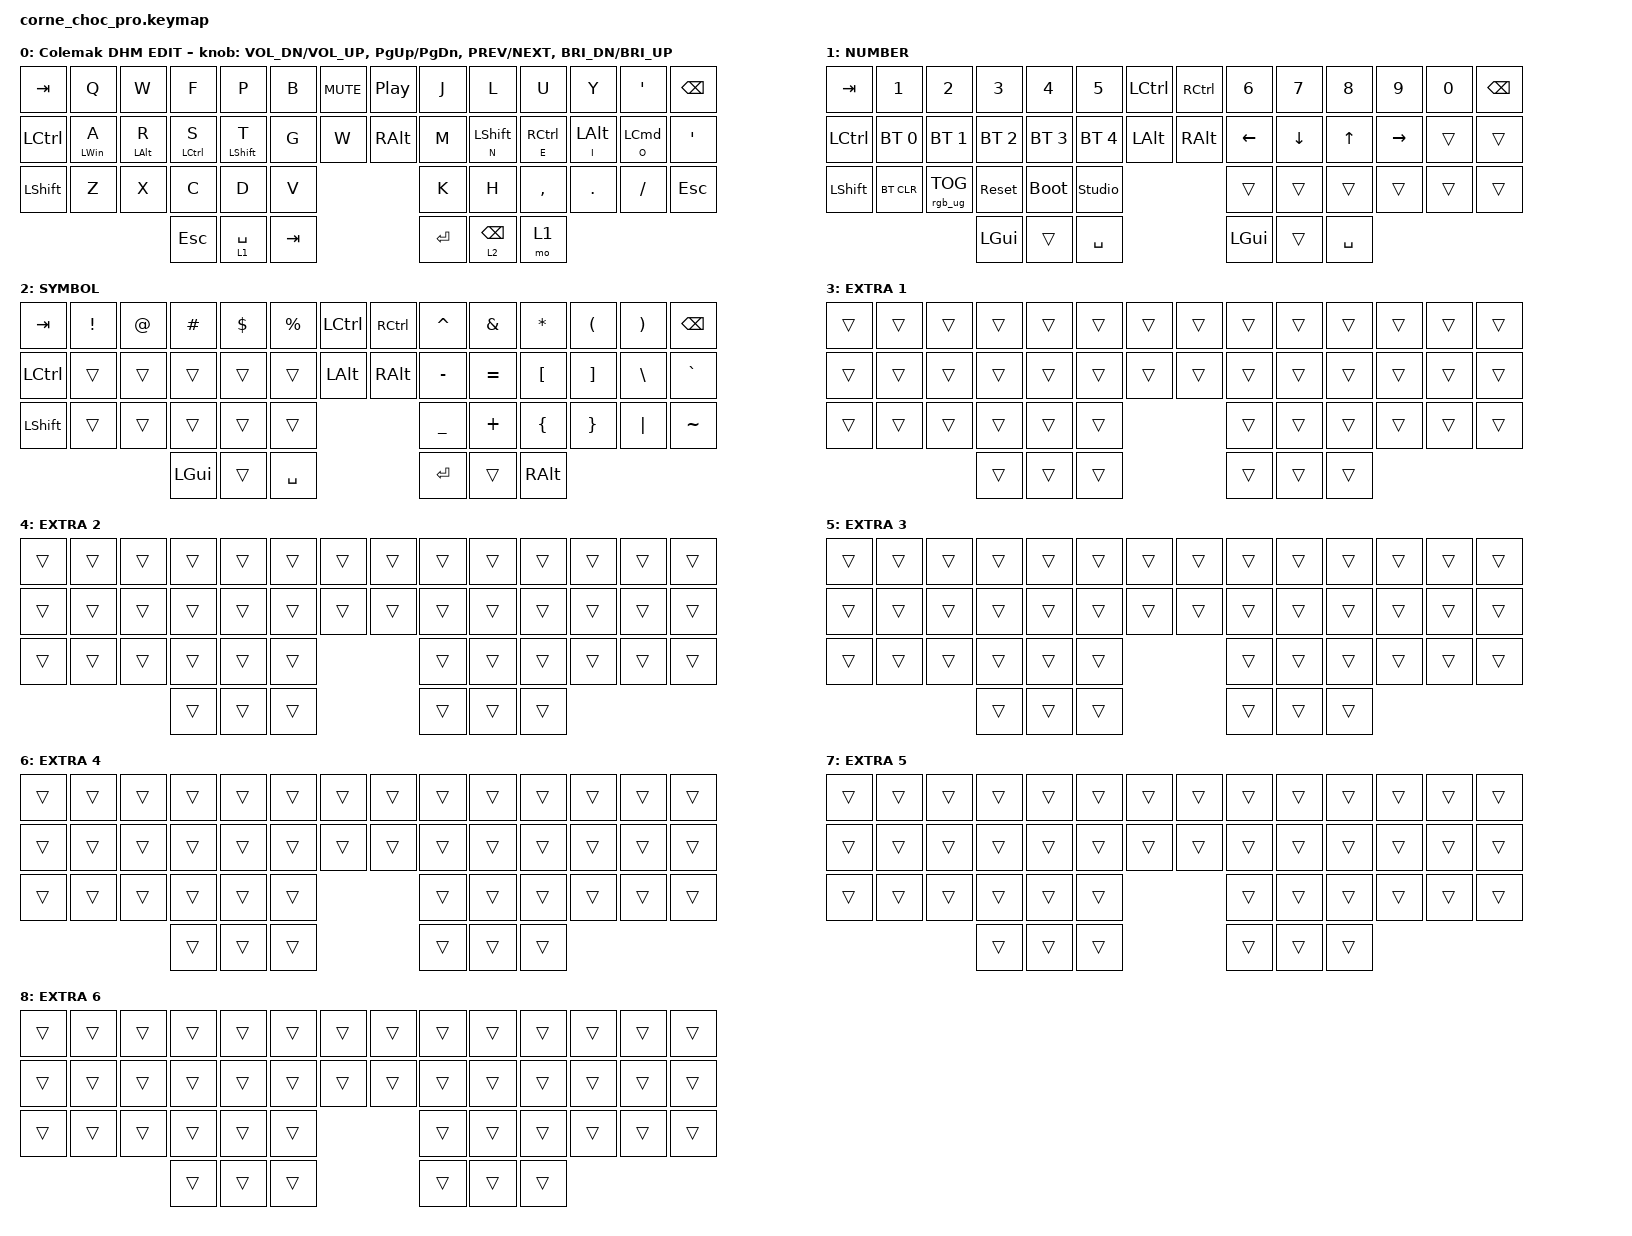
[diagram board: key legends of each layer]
/*
 * Copyright (c) 2020 The ZMK Contributors
 *
 * SPDX-License-Identifier: MIT
 */

#include <behaviors.dtsi>
#include <dt-bindings/zmk/bt.h>
#include <dt-bindings/zmk/keys.h>
#include <dt-bindings/zmk/rgb.h>

/ {
    chosen { zmk,physical-layout = &default_layout; };
};

/ {
    behaviors {
        hm_shift_right: hm_shift_right {
            compatible = "zmk,behavior-hold-tap";
            label = "HM_SHIFT_RIGHT";
            bindings = <&kp>, <&kp>;

            #binding-cells = <2>;
            tapping-term-ms = <200>;
            hold-while-undecided;
            hold-trigger-key-positions = <0 1 2 4 3 5 6 14 0 1 2 3 4 5 6 14 15 16 17 18 19 20 28 29 30 31 32 33 40 41 42>;
            hold-trigger-on-release;
        };

        hm_shift_left: hm_shift_left {
            compatible = "zmk,behavior-hold-tap";
            label = "HM_SHIFT_LEFT";
            bindings = <&kp>, <&kp>;

            #binding-cells = <2>;
            tapping-term-ms = <200>;
            hold-while-undecided;
            hold-trigger-key-positions = <7 8 9 11 12 13 21 22 23 24 25 26 27 34 35 36 37 38 39 43 44 45 7 8 9 10 11 12 13 21 22 23 24 25 26 27 34 35 36 37 38 39 43 44 45>;
            hold-trigger-on-release;
        };

        hm_right: hm_right {
            compatible = "zmk,behavior-hold-tap";
            label = "HM_RIGHT";
            bindings = <&kp>, <&kp>;

            #binding-cells = <2>;
            tapping-term-ms = <200>;
            hold-while-undecided;
            hold-trigger-key-positions = <0 1 2 4 3 5 6 14 0 1 2 3 4 5 6 14 15 16 17 18 19 20 28 29 30 31 32 33 40 41 42>;
            hold-trigger-on-release;
            flavor = "tap-preferred";
        };

        hm_left: hm_left {
            compatible = "zmk,behavior-hold-tap";
            label = "HM_LEFT";
            bindings = <&kp>, <&kp>;

            #binding-cells = <2>;
            tapping-term-ms = <200>;
            hold-while-undecided;
            hold-trigger-key-positions = <7 8 9 11 12 13 21 22 23 24 25 26 27 34 35 36 37 38 39 43 44 45 7 8 9 10 11 12 13 21 22 23 24 25 26 27 34 35 36 37 38 39 43 44 45>;
            hold-trigger-on-release;
            flavor = "tap-preferred";
        };
    };

    keymap {
        compatible = "zmk,keymap";

        default_layer {
            display-name = "Colemak DHM EDIT";

            // --------------------------------------------------------------------------------
            // |  TAB |  Q  |  W  |  E  |  R  |  T  |  MUTE |  PP   |  Y  |  U   |  I  |  O  |  P  | BSPC |
            // | CTRL |  A  |  S  |  D  |  F  |  G  |  LALT |  RALT |  H  |  J   |  K  |  L  |  ;  |  '   |
            // | SHFT |  Z  |  X  |  C  |  V  |  B  |               |  N  |  M   |  ,  |  .  |  /  | ESC  |
            //                    | GUI | LWR | SPC |               | ENT | RSE  | ALT |

            bindings = <
&kp TAB    &kp Q                &kp W                &kp F                    &kp P                        &kp B    &kp K_MUTE  &kp C_PP  &kp J    &kp L                         &kp U              &kp Y                 &kp SQT                   &kp BSPC
&kp LCTRL  &hm_left LEFT_WIN A  &hm_left LEFT_ALT R  &hm_left LEFT_CONTROL S  &hm_shift_left LEFT_SHIFT T  &kp G    &kp W       &kp RALT  &kp M    &hm_shift_right N LEFT_SHIFT  &hm_right E RCTRL  &hm_right I LEFT_ALT  &hm_right O LEFT_COMMAND  &kp SQT
&kp LSHFT  &kp Z                &kp X                &kp C                    &kp D                        &kp V                          &kp K    &kp H                         &kp COMMA          &kp DOT               &kp FSLH                  &kp ESC
                                                     &kp ESCAPE               &lt 1 SPACE                  &kp TAB                        &kp RET  &lt 2 BACKSPACE               &mo 1
            >;

            sensor-bindings = <&inc_dec_kp C_VOL_DN C_VOL_UP &inc_dec_kp PG_UP PG_DN &inc_dec_kp C_PREV C_NEXT &inc_dec_kp C_BRI_DN C_BRI_UP>;
        };

        lower_layer {
            display-name = "NUMBER";

            // -----------------------------------------------------------------------------------------
            // |  TAB |  1  |  2  |  3  |  4  |  5    |  LCTRL | RCTRL |  6  |  7  |  8  |  9  |  0  | BSPC |
            // | CTRL | BT1 | BT2 | BT3 | BT4 | BT5   |  LALT  | RALT  | LFT | DWN |  UP | RGT |     |      |
            // | SHFT | BTCR| RGB | RST | BOOT| Unlock|        |       |     |     |     |     |     |      |
            //                    | GUI |     | SPC   |        | ENT   |     | ALT |

            bindings = <
&kp TAB    &kp N1        &kp N2           &kp N3        &kp N4        &kp N5          &kp LCTRL  &kp RCTRL  &kp N6    &kp N7    &kp N8     &kp N9     &kp N0  &kp BSPC
&kp LCTRL  &bt BT_SEL 0  &bt BT_SEL 1     &bt BT_SEL 2  &bt BT_SEL 3  &bt BT_SEL 4    &kp LALT   &kp RALT   &kp LEFT  &kp DOWN  &kp UP     &kp RIGHT  &trans  &trans
&kp LSHFT  &bt BT_CLR    &rgb_ug RGB_TOG  &sys_reset    &bootloader   &studio_unlock                        &trans    &trans    &trans     &trans     &trans  &trans
                                          &kp LGUI      &trans        &kp SPACE                             &kp LGUI  &trans    &kp SPACE
            >;
        };

        raise_layer {
            display-name = "SYMBOL";

            // -----------------------------------------------------------------------------------------
            // |  TAB |  !  |  @  |  #  |  $  |  %  | LCTRL | RCTRL |  ^  |  &  |  *  |  (  |  )  | BSPC |
            // | CTRL |     |     |     |     |     |  LALT | RALT  |  -  |  =  |  [  |  ]  |  \  |  `   |
            // | SHFT |     |     |     |     |     |               |  _  |  +  |  {  |  }  | "|" |  ~   |
            //                    | GUI |     | SPC |               | ENT |     | ALT |

            bindings = <
&kp TAB    &kp EXCL  &kp AT  &kp HASH  &kp DLLR  &kp PRCNT  &kp LCTRL  &kp RCTRL  &kp CARET  &kp AMPS   &kp ASTRK  &kp LPAR  &kp RPAR  &kp BSPC
&kp LCTRL  &trans    &trans  &trans    &trans    &trans     &kp LALT   &kp RALT   &kp MINUS  &kp EQUAL  &kp LBKT   &kp RBKT  &kp BSLH  &kp GRAVE
&kp LSHFT  &trans    &trans  &trans    &trans    &trans                           &kp UNDER  &kp PLUS   &kp LBRC   &kp RBRC  &kp PIPE  &kp TILDE
                             &kp LGUI  &trans    &kp SPACE                        &kp RET    &trans     &kp RALT
            >;
        };

        extra_layer_1 {
            display-name = "EXTRA 1";
            bindings = <
&trans  &trans  &trans  &trans  &trans  &trans  &trans  &trans  &trans  &trans  &trans  &trans  &trans  &trans
&trans  &trans  &trans  &trans  &trans  &trans  &trans  &trans  &trans  &trans  &trans  &trans  &trans  &trans
&trans  &trans  &trans  &trans  &trans  &trans                  &trans  &trans  &trans  &trans  &trans  &trans
                        &trans  &trans  &trans                  &trans  &trans  &trans
            >;
        };

        extra_layer_2 {
            display-name = "EXTRA 2";
            bindings = <
&trans  &trans  &trans  &trans  &trans  &trans  &trans  &trans  &trans  &trans  &trans  &trans  &trans  &trans
&trans  &trans  &trans  &trans  &trans  &trans  &trans  &trans  &trans  &trans  &trans  &trans  &trans  &trans
&trans  &trans  &trans  &trans  &trans  &trans                  &trans  &trans  &trans  &trans  &trans  &trans
                        &trans  &trans  &trans                  &trans  &trans  &trans
            >;
        };

        extra_layer_3 {
            display-name = "EXTRA 3";
            bindings = <
&trans  &trans  &trans  &trans  &trans  &trans  &trans  &trans  &trans  &trans  &trans  &trans  &trans  &trans
&trans  &trans  &trans  &trans  &trans  &trans  &trans  &trans  &trans  &trans  &trans  &trans  &trans  &trans
&trans  &trans  &trans  &trans  &trans  &trans                  &trans  &trans  &trans  &trans  &trans  &trans
                        &trans  &trans  &trans                  &trans  &trans  &trans
            >;
        };

        extra_layer_4 {
            display-name = "EXTRA 4";
            bindings = <
&trans  &trans  &trans  &trans  &trans  &trans  &trans  &trans  &trans  &trans  &trans  &trans  &trans  &trans
&trans  &trans  &trans  &trans  &trans  &trans  &trans  &trans  &trans  &trans  &trans  &trans  &trans  &trans
&trans  &trans  &trans  &trans  &trans  &trans                  &trans  &trans  &trans  &trans  &trans  &trans
                        &trans  &trans  &trans                  &trans  &trans  &trans
            >;
        };

        extra_layer_5 {
            display-name = "EXTRA 5";
            bindings = <
&trans  &trans  &trans  &trans  &trans  &trans  &trans  &trans  &trans  &trans  &trans  &trans  &trans  &trans
&trans  &trans  &trans  &trans  &trans  &trans  &trans  &trans  &trans  &trans  &trans  &trans  &trans  &trans
&trans  &trans  &trans  &trans  &trans  &trans                  &trans  &trans  &trans  &trans  &trans  &trans
                        &trans  &trans  &trans                  &trans  &trans  &trans
            >;
        };

        extra_layer_6 {
            display-name = "EXTRA 6";
            bindings = <
&trans  &trans  &trans  &trans  &trans  &trans  &trans  &trans  &trans  &trans  &trans  &trans  &trans  &trans
&trans  &trans  &trans  &trans  &trans  &trans  &trans  &trans  &trans  &trans  &trans  &trans  &trans  &trans
&trans  &trans  &trans  &trans  &trans  &trans                  &trans  &trans  &trans  &trans  &trans  &trans
                        &trans  &trans  &trans                  &trans  &trans  &trans
            >;
        };
    };
};
